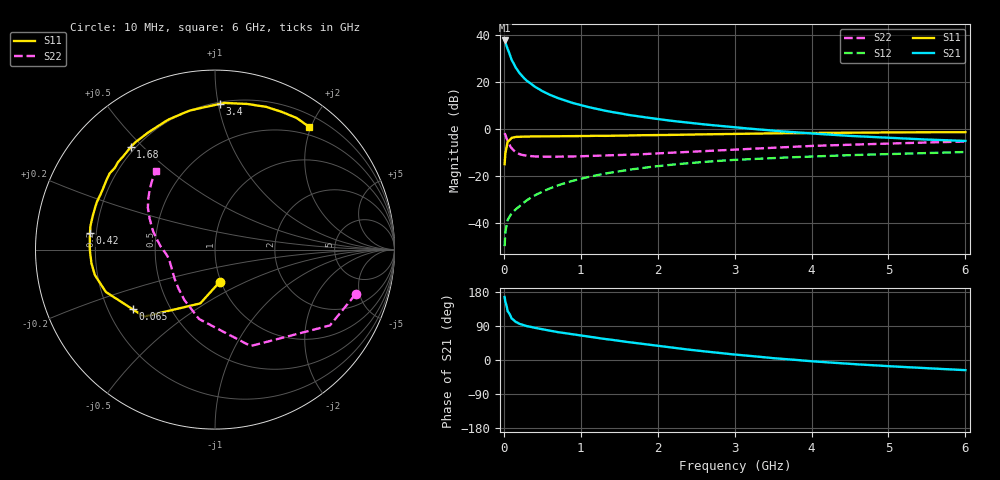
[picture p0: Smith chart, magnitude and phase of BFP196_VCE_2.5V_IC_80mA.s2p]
! Infineon Technologies  Discrete & RF Semiconductors
! BFP196
! VCE = 2.5 V,  IC =  80mA
! Common Emitter S-Parameters:  Jan 2016
# GHz  S  MA  R  50
!  f  S11  S21  S12  S22
! GHz  MAG  ANG  MAG  ANG  MAG  ANG  MAG  ANG
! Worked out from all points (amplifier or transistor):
!   210 points, 10 MHz to 6 GHz, reference 50 ohm
!   highest |S21| = 37.6 dB at 10 MHz (marker M1)
!   |S21| within 3 dB of that: start of sweep to 42.2 MHz
!   unconditionally stable (mu >= 1): 351.1 MHz to 4.907 GHz
!   at 185 MHz: K = 0.84, MSG = 29.0 dB, |S12| = -33.2 dB
!   at 1.52 GHz: K = 1.09, MAG = 10.4 dB, |S12| = -17.7 dB
!   at 6 GHz: K = 0.99, MSG = 2.4 dB, |S12| = -9.7 dB
!   S11 on the Smith chart (normalised r, x): 10 MHz: 0.99, -0.37; 65 MHz: 0.30, -0.30; 420 MHz: 0.18, +0.06; 1.68 GHz: 0.18, +0.46; 3.4 GHz: 0.21, +1.01; 6 GHz: 0.37, +1.96
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0.01  0.1812 -81.4  76.16 166.4  0.0033 76.6  0.8219 -17.6
0.02  0.3107 -105.3  69.77 153.3  0.0066 70.2  0.7673 -33.4
0.05  0.5435 -136.6  49.87 128.3  0.0119 54.0  0.5728 -69.7
0.065  0.5665 -144.1  43.47 124.5  0.0132 53.3  0.5046 -77.1
0.1  0.6524 -158.8  29.81 109.6  0.0164 52.0  0.3966 -103.0
0.15  0.6844 -168.1  20.71 100.9  0.0196 54.4  0.3289 -121.2
0.2  0.6927 -173.7  15.78 95.7  0.0229 57.1  0.2975 -133.0
0.26  0.6959 -178.5  12.21 91.5  0.0278 60.9  0.2802 -142.4
0.3  0.6981 178.9  10.6 89.3  0.0311 62.5  0.2735 -146.8
0.4  0.7019 173.1  8.011 84.9  0.0392 64.8  0.2644 -154.8
0.42  0.7026 172.4  7.687 84.3  0.0408 65.0  0.2636 -155.8
0.5  0.7064 169.4  6.404 81.1  0.047 65.8  0.2614 -160.0
0.7  0.7079 161.1  4.593 73.6  0.0639 66.0  0.2609 -166.0
1.02  0.7124 149.9  3.171 64.0  0.0903 63.1  0.2673 -171.9
1.3  0.7202 140.9  2.496 55.8  0.1132 59.3  0.2755 -175.7
1.68  0.7396 129.4  1.939 45.6  0.1417 53.9  0.29 179.7
2.02  0.7509 120.2  1.622 37.1  0.1657 48.4  0.3073 175.4
3.1  0.7958 94.1  1.059 12.6  0.2274 31.9  0.3751 160.0
3.4  0.8116 88.2  0.959 7.0  0.2403 27.7  0.3968 155.7
4.1  0.8327 76.1  0.792 -4.6  0.2668 19.0  0.4465 146.8
5.1  0.8539 63.0  0.645 -17.3  0.2998 7.7  0.5004 136.1
6  0.8621 52.7  0.563 -26.8  0.3277 -2.3  0.5474 126.9
